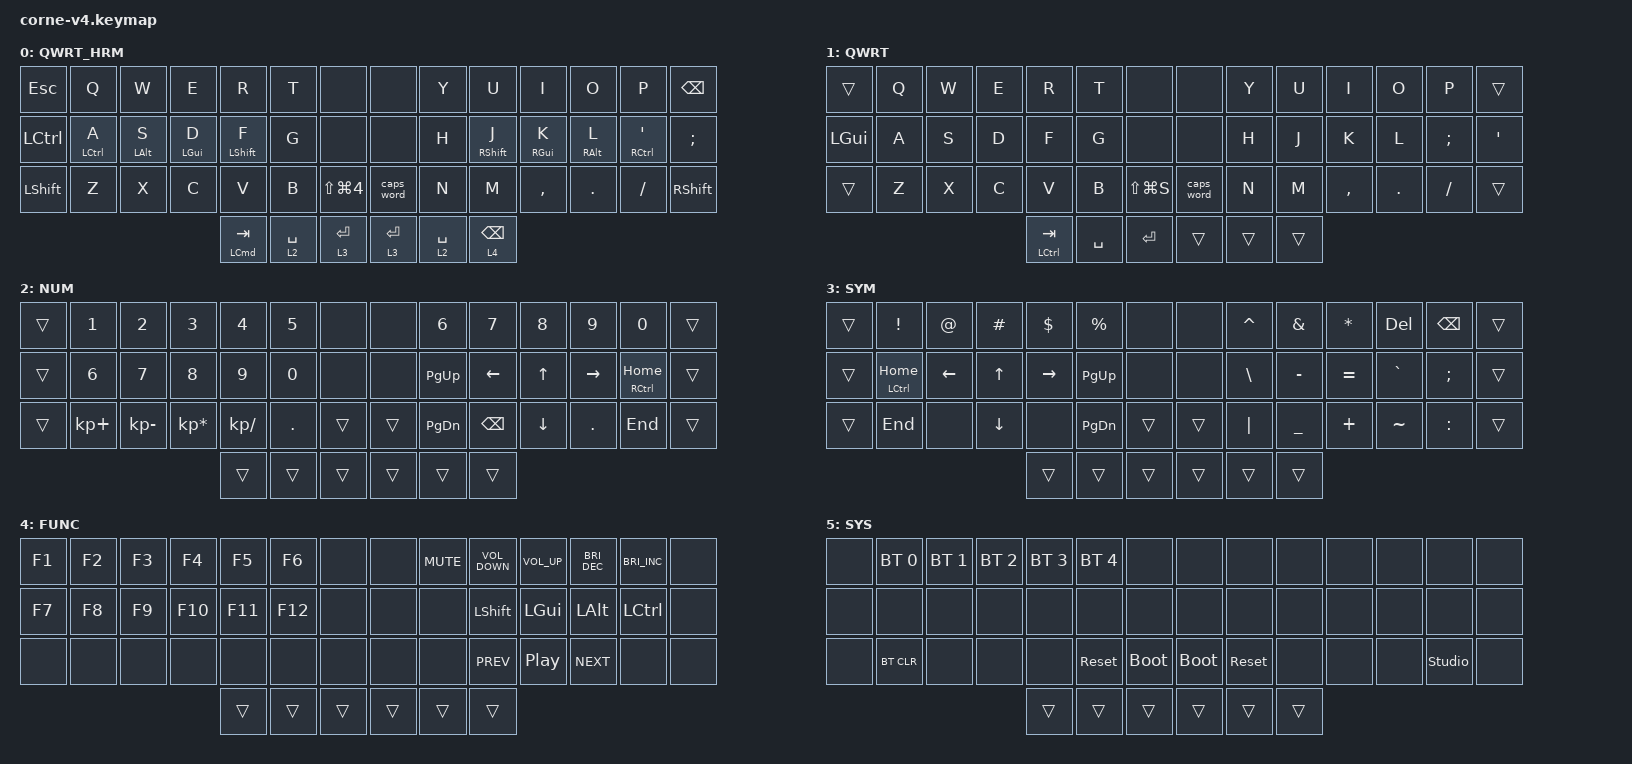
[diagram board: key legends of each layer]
#define ZMK_MOUSE_DEFAULT_MOVE_VAL 1500  // 600
#define ZMK_MOUSE_DEFAULT_SCRL_VAL 20    // 10

#include <behaviors.dtsi>
#include <dt-bindings/zmk/bt.h>
#include <dt-bindings/zmk/keys.h>

&lt {
    tapping-term-ms = <220>;
    flavor = "balanced";
    quick-tap-ms = <175>;
};

&mt {
    tapping-term-ms = <220>;
    flavor = "tap-preferred";
    quick-tap-ms = <175>;
};

/ {
    combos {
        compatible = "zmk,combos";

        par_l {
            bindings = <&kp LEFT_PARENTHESIS>;
            key-positions = <18 19>;
            layers = <0 1 2 3>;
        };

        par_r {
            bindings = <&kp RIGHT_PARENTHESIS>;
            key-positions = <23 22>;
            layers = <0 1 2 3>;
        };

        bkt_l {
            bindings = <&kp LEFT_BRACKET>;
            key-positions = <4 5>;
            layers = <0 1 2 3>;
        };

        bkt_r {
            bindings = <&kp RIGHT_BRACKET>;
            key-positions = <8 9>;
            layers = <0 1 2 3>;
        };

        brc_l {
            bindings = <&kp LEFT_BRACE>;
            key-positions = <32 33>;
            layers = <0 1 2 3>;
        };

        brc_r {
            bindings = <&kp RIGHT_BRACE>;
            key-positions = <36 37>;
            layers = <0 1 2 3>;
        };

        left_del {
            bindings = <&kp DELETE>;
            key-positions = <29 30>;
            layers = <0 1 2 3>;
        };

        right_del {
            bindings = <&kp DELETE>;
            key-positions = <39 40>;
            layers = <0 1 2 3>;
        };

        to_qwrt {
            bindings = <&to 1>;
            key-positions = <44 34 19>;
            layers = <0>;
        };

        to_qwrt_hrm {
            bindings = <&to 0>;
            key-positions = <42 43 44>;
            layers = <1>;
        };
    };

    behaviors {
        hml: homerow_mods_left {
            compatible = "zmk,behavior-hold-tap";
            label = "homerow_mods_left";
            bindings = <&kp>, <&kp>;

            #binding-cells = <2>;
            hold-trigger-key-positions = <9 8 10 11 23 22 33 30 31 32 40 39 5 4 3 2 19 1 29 8 9 10 11 12 22 23 24 25 26 36 37 38 39 40 0 14 28 13 27 41>;
            tapping-term-ms = <280>;
            flavor = "balanced";
            quick-tap-ms = <175>;
            require-prior-idle-ms = <150>;
            hold-trigger-on-release;
        };

        hmr: homerow_mods_right {
            compatible = "zmk,behavior-hold-tap";
            label = "homerow_mods_right";
            bindings = <&kp>, <&kp>;

            #binding-cells = <2>;
            tapping-term-ms = <280>;
            hold-trigger-key-positions = <1 2 3 4 5 15 16 17 29 8 9 10 11 12 36 37 38 39 40 22 1 2 3 4 5 15 16 17 18 19 29 30 31 32 33 0 14 28 13 27 41>;
            flavor = "balanced";
            quick-tap-ms = <175>;
            require-prior-idle-ms = <150>;
            hold-trigger-on-release;
        };
    };

    keymap {
        compatible = "zmk,keymap";

        qwrt_hrm {
            bindings = <
&kp ESC           &kp Q                &kp W            &kp E            &kp R              &kp T        &none             &none        &kp Y        &kp U               &kp I             &kp O             &kp P                   &kp BACKSPACE
&kp LEFT_CONTROL  &hml LEFT_CONTROL A  &hml LEFT_ALT S  &hml LEFT_GUI D  &hml LEFT_SHIFT F  &kp G        &none             &none        &kp H        &hmr RIGHT_SHIFT J  &hmr RIGHT_GUI K  &hmr RIGHT_ALT L  &hmr RIGHT_CONTROL SQT  &kp SEMI
&kp LEFT_SHIFT    &kp Z                &kp X            &kp C            &kp V              &kp B        &kp LS(LG(N4))    &caps_word   &kp N        &kp M               &kp COMMA         &kp DOT           &kp FSLH                &kp RIGHT_SHIFT
                                                                         &mt LCMD TAB       &lt 2 SPACE  &lt 3 ENTER       &lt 3 ENTER  &lt 2 SPACE  &lt 4 BACKSPACE
            >;

            label = "QWRT_HRM";
        };

        qwrt {
            bindings = <
&trans        &kp Q  &kp W  &kp E  &kp R                 &kp T      &none            &none       &kp Y   &kp U   &kp I      &kp O    &kp P     &trans
&kp LEFT_GUI  &kp A  &kp S  &kp D  &kp F                 &kp G      &none            &none       &kp H   &kp J   &kp K      &kp L    &kp SEMI  &kp SQT
&trans        &kp Z  &kp X  &kp C  &kp V                 &kp B      &kp LS(LG(S))    &caps_word  &kp N   &kp M   &kp COMMA  &kp DOT  &kp FSLH  &trans
                                   &mt LEFT_CONTROL TAB  &kp SPACE  &kp ENTER        &trans      &trans  &trans
            >;

            label = "QWRT";
        };

        number {
            // -----------------------------------------------------------------------------------------
            // |  TAB |  1  |  2  |  3  |  4  |  5  |   |  6  |  7  |  8  |  9  |  0  | BKSP |
            // | BTCLR| BT1 | BT2 | BT3 | BT4 | BT5 |   | LFT | DWN |  UP | RGT |     |      |
            // | SHFT |     |     |     |     |     |   |     |     |     |     |     |      |
            //                    | GUI |     | SPC |   | ENT |     | ALT |

            bindings = <
&trans  &kp N1       &kp N2        &kp N3           &kp N4         &kp N5   &none     &none   &kp N6     &kp N7         &kp N8        &kp N9     &kp N0                  &trans
&trans  &kp N6       &kp N7        &kp N8           &kp N9         &kp N0   &none     &none   &kp PG_UP  &kp LEFT       &kp UP_ARROW  &kp RIGHT  &mt RIGHT_CONTROL HOME  &trans
&trans  &kp KP_PLUS  &kp KP_MINUS  &kp KP_MULTIPLY  &kp KP_DIVIDE  &kp DOT  &trans    &trans  &kp PG_DN  &kp BACKSPACE  &kp DOWN      &kp DOT    &kp END                 &trans
                                                    &trans         &trans   &trans    &trans  &trans     &trans
            >;

            label = "NUM";
        };

        symbol {
            bindings = <
&trans  &kp EXCL               &kp AT_SIGN  &kp HASH  &kp DOLLAR  &kp PERCENT    &none     &none   &kp CARET      &kp AMPERSAND  &kp ASTERISK  &kp DELETE  &kp BACKSPACE  &trans
&trans  &mt LEFT_CONTROL HOME  &kp LEFT     &kp UP    &kp RIGHT   &kp PG_UP      &none     &none   &kp BACKSLASH  &kp MINUS      &kp EQUAL     &kp GRAVE   &kp SEMI       &trans
&trans  &kp END                &none        &kp DOWN  &none       &kp PAGE_DOWN  &trans    &trans  &kp PIPE       &kp UNDER      &kp PLUS      &kp TILDE   &kp COLON      &trans
                                                      &trans      &trans         &trans    &trans  &trans         &trans
            >;

            label = "SYM";
        };

        func {
            bindings = <
&kp F1  &kp F2  &kp F3  &kp F4   &kp F5   &kp F6   &none     &none   &kp K_MUTE  &kp C_VOLUME_DOWN  &kp C_VOLUME_UP  &kp C_BRIGHTNESS_DEC  &kp C_BRIGHTNESS_INC  &none
&kp F7  &kp F8  &kp F9  &kp F10  &kp F11  &kp F12  &none     &none   &none       &kp LSHFT          &kp LEFT_GUI     &kp LALT              &kp LEFT_CONTROL      &none
&none   &none   &none   &none    &none    &none    &none     &none   &none       &kp C_PREV         &kp C_PP         &kp C_NEXT            &none                 &none
                                 &trans   &trans   &trans    &trans  &trans      &trans
            >;

            label = "FUNC";
        };

        system {
            bindings = <
&none  &bt BT_SEL 0  &bt BT_SEL 1  &bt BT_SEL 2  &bt BT_SEL 3  &bt BT_SEL 4  &none          &none        &none       &none   &none  &none  &none           &none
&none  &none         &none         &none         &none         &none         &none          &none        &none       &none   &none  &none  &none           &none
&none  &bt BT_CLR    &none         &none         &none         &sys_reset    &bootloader    &bootloader  &sys_reset  &none   &none  &none  &studio_unlock  &none
                                                 &trans        &trans        &trans         &trans       &trans      &trans
            >;

            label = "SYS";
        };
    };

    conditional_layers {
        compatible = "zmk,conditional-layers";

        switch {
            if-layers = <2 3>;
            then-layer = <5>;
        };
    };
};
